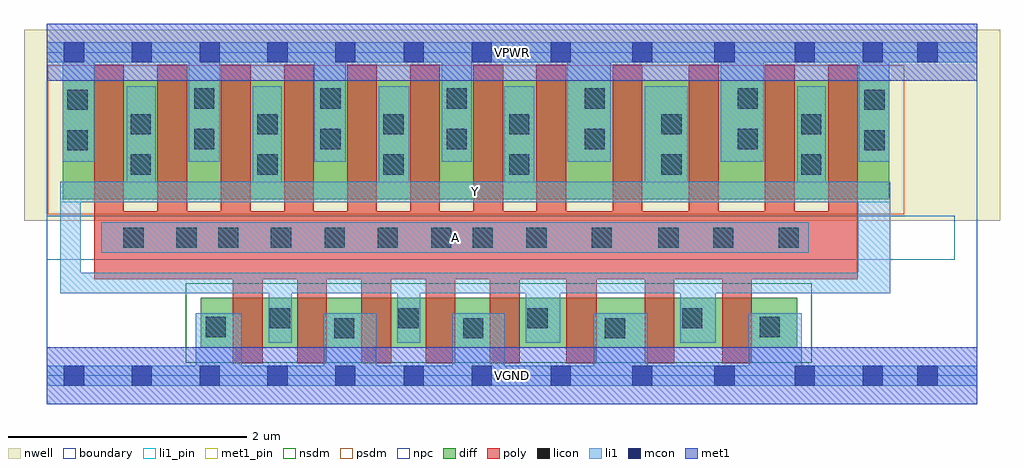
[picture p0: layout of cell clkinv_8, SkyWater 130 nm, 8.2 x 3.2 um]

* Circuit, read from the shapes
.subckt clkinv_8 A VGND VPWR Y
XM1 Y A VGND VSUBS sky130_fd_pr__nfet_01v8 w=0.42 l=0.25 m=7
XM2 VGND A Y VSUBS sky130_fd_pr__nfet_01v8 w=0.42 l=0.255
XM3 Y A VPWR n1 sky130_fd_pr__pfet_01v8 w=1 l=0.25 m=12
.ends

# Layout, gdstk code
import gdstk
lib = gdstk.Library(unit=1e-6, precision=1e-09)
def R(c, l, rs):  # rectangles x0, y0, x1, y1
    for r in rs: c.add(gdstk.rectangle(r[:2], r[2:], *l))
def A(c, l, x, y, w, h, nx, ny, dx, dy):  # array of equal rectangles
    R(c, l, [(x+i*dx, y+j*dy, x+i*dx+w, y+j*dy+h) for i in range(nx) for j in range(ny)])
nwell = (64, 20)
diff = (65, 20)
poly = (66, 20)
licon = (66, 44)
li1_pin = (67, 16)
li1 = (67, 20)
mcon = (67, 44)
met1_pin = (68, 16)
met1 = (68, 20)
nsdm = (93, 44)
psdm = (94, 20)
npc = (95, 20)
boundary = (235, 4)

clkinv_8 = lib.new_cell('clkinv_8')
R(clkinv_8, nwell, [(-0.19,1.305,8.01,2.91), (0,1.305,7.82,2.91)])
R(clkinv_8, diff, [(1.295,0.235,6.305,0.655), (0.135,1.485,7.08,2.485)])
A(clkinv_8, poly, 1.565, 0.105, 0.25, 1.28, 5, 1, 0.54, 0)
A(clkinv_8, poly, 1.465, 0.81, 0.25, 1.805, 6, 1, 0.53, 0)
A(clkinv_8, poly, 4.755, 0.81, 0.25, 1.805, 3, 1, 0.64, 0)
R(clkinv_8, poly, [(4.365,0.105,4.62,1.385), (5.025,0.105,5.275,1.385), (5.675,0.105,5.925,1.385), (0.4,0.81,6.815,1.385), (0.4,0.81,0.65,2.615), (0.93,0.81,1.18,2.615), (6.565,0.81,6.815,2.615)])
A(clkinv_8, licon, 1.24, 1.905, 0.17, 0.17, 3, 2, 1.06, 0.34)
R(clkinv_8, licon, [(2.415,0.315,2.585,0.485), (3.5,0.315,3.67,0.485), (4.69,0.315,4.86,0.485), (1.335,0.325,1.505,0.495), (5.99,0.325,6.16,0.495), (1.875,0.4,2.045,0.57), (2.955,0.4,3.125,0.57), (4.04,0.4,4.21,0.57), (5.34,0.4,5.51,0.57), (0.645,1.075,0.815,1.245), (1.09,1.075,1.26,1.245), (1.44,1.075,1.61,1.245), (1.885,1.075,2.055,1.245), (2.335,1.075,2.505,1.245), (2.78,1.075,2.95,1.245), (3.23,1.075,3.4,1.245), (3.58,1.075,3.75,1.245), (4.03,1.075,4.2,1.245), (4.58,1.075,4.75,1.245), (5.14,1.075,5.31,1.245), (5.6,1.075,5.77,1.245), (6.15,1.075,6.32,1.245), (0.705,1.69,0.875,1.86), (1.77,1.69,1.94,1.86), (2.83,1.69,3,1.86), (3.885,1.69,4.055,1.86), (5.165,1.69,5.335,1.86), (6.34,1.69,6.51,1.86), (0.175,1.895,0.345,2.065), (6.87,1.895,7.04,2.065), (4.52,1.905,4.69,2.075), (5.805,1.905,5.975,2.075), (0.705,2.03,0.875,2.2), (1.77,2.03,1.94,2.2), (2.83,2.03,3,2.2), (3.885,2.03,4.055,2.2), (5.165,2.03,5.335,2.2), (6.34,2.03,6.51,2.2), (0.175,2.235,0.345,2.405), (6.87,2.235,7.04,2.405), (4.52,2.245,4.69,2.415), (5.805,2.245,5.975,2.415)])
R(clkinv_8, li1_pin, [(0.46,1.035,6.405,1.29), (0.115,1.46,7.09,1.63)])
R(clkinv_8, li1, [(0,-0.085,7.82,0.085), (1.255,-0.085,1.64,0.525), (2.33,-0.085,2.77,0.525), (3.41,-0.085,3.85,0.525), (4.595,-0.085,5.05,0.525), (5.9,-0.085,6.345,0.525), (1.865,0.28,2.06,0.865), (2.945,0.28,3.14,0.865), (4.025,0.28,4.315,0.865), (5.325,0.28,5.62,0.865), (0.115,0.695,7.09,0.865), (0.115,0.695,0.285,1.63), (6.815,0.695,7.09,1.63), (0.46,1.035,6.405,1.29), (0.115,1.46,7.09,1.63), (0.675,1.46,0.915,2.435), (1.73,1.46,1.975,2.435), (2.79,1.46,3.045,2.435), (3.845,1.46,4.095,2.435), (5.025,1.46,5.385,2.435), (6.305,1.46,6.545,2.435), (0.135,1.8,0.4,2.805), (1.195,1.8,1.455,2.805), (2.25,1.8,2.515,2.805), (3.32,1.8,3.57,2.805), (4.375,1.8,4.74,2.805), (5.665,1.8,6.025,2.805), (6.825,1.8,7.08,2.805), (0,2.635,7.82,2.805)])
A(clkinv_8, mcon, 0.145, -0.085, 0.17, 0.17, 5, 2, 0.57, 2.72)
R(clkinv_8, mcon, [(3,-0.085,3.17,0.085), (3.57,-0.085,3.74,0.085), (4.235,-0.085,4.405,0.085), (4.92,-0.085,5.09,0.085), (5.61,-0.085,5.78,0.085), (6.285,-0.085,6.455,0.085), (6.855,-0.085,7.025,0.085), (7.315,-0.085,7.485,0.085), (3,2.635,3.17,2.805), (3.57,2.635,3.74,2.805), (4.235,2.635,4.405,2.805), (4.92,2.635,5.09,2.805), (5.61,2.635,5.78,2.805), (6.285,2.635,6.455,2.805), (6.855,2.635,7.025,2.805), (7.315,2.635,7.485,2.805)])
R(clkinv_8, met1_pin, [(0,-0.24,7.82,0.24), (0,2.48,7.82,2.96)])
R(clkinv_8, met1, [(0,-0.24,7.82,0.24), (0,2.48,7.82,2.96)])
R(clkinv_8, nsdm, [(1.17,0.11,6.43,0.78)])
R(clkinv_8, psdm, [(0.01,1.36,7.205,2.61)])
R(clkinv_8, npc, [(0,0.975,7.63,1.345)])
R(clkinv_8, boundary, [(0,0,7.82,2.72)])
clkinv_8.add(gdstk.Label('A', (3.432,1.162), layer=67, texttype=5))
clkinv_8.add(gdstk.Label('Y', (3.602,1.545), layer=67, texttype=5))
clkinv_8.add(gdstk.Label('VPWR', (3.91,2.72), layer=68, texttype=5))
clkinv_8.add(gdstk.Label('VGND', (3.91,0), layer=68, texttype=5))
clkinv_8.add(gdstk.Label('A', (3.432,1.162), layer=67, texttype=16))
clkinv_8.add(gdstk.Label('Y', (3.602,1.545), layer=67, texttype=16))
clkinv_8.add(gdstk.Label('VPWR', (3.91,2.72), layer=68, texttype=16))
clkinv_8.add(gdstk.Label('VGND', (3.91,0), layer=68, texttype=16))

lib.write_gds('clkinv_8.gds')
